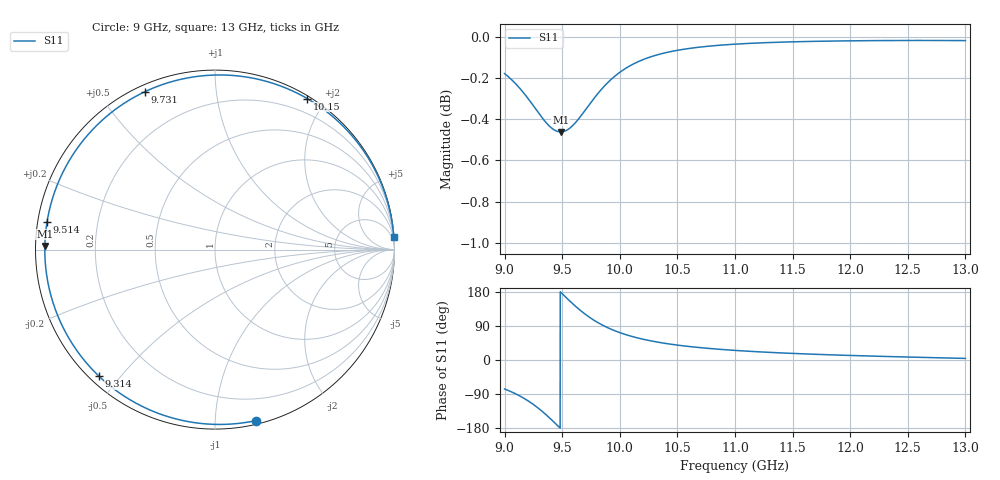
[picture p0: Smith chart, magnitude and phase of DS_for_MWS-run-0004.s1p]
! TOUCHSTONE file generated by CST DESIGN STUDIO
! Date and time: Tue Feb  4 13:52:41 2025
! Project name: C:\Work\MatlabApps\UnitCellOptimizationMatlab\CST\unitcell.cst
! Tree item: Tasks\Sweep1\SPara1\S-Parameters
! Header version: 2024
! Port assignment regex: !\s*Touchstone port\s*([0-9]+)\s*=\s*(CST MWS port|CST DES external port|CST DES block port)\s*(.+)\s* \(\"(.*)\"\)(\s*mode\s*([0-9]+))?.*
! Touchstone port assignment:
! Touchstone port 1 = CST DES external port 1 ("")
# GHz S MA R 50
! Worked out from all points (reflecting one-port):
!   4001 points, 9 GHz to 13 GHz, reference 50 ohm
!   lowest |S11| = -0.5 dB at 9.487 GHz (marker M1), VSWR 37.64, Z = 1.33 + j0.533 ohm
!   phase of S11 starts at -77 deg and turns -279 deg over the sweep
!   S11 on the Smith chart (normalised r, x): 9 GHz: 0.03, -1.27; 9.314 GHz: 0.03, -0.44; 9.514 GHz: 0.03, +0.08; 9.731 GHz: 0.03, +0.65; 10.15 GHz: 0.03, +1.78; 13 GHz: 1, +27
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9  0.9797 -76.6
9.081  0.9751 -87.1
9.18  0.968 -103.3
9.25  0.9622 -117.4
9.314  0.9567 -132.4
9.36  0.9532 -144.4
9.408  0.9503 -157.9
9.448  0.9488 -169.6
9.487  0.9482 178.8
9.5  0.9483 174.9
9.514  0.9485 170.7
9.567  0.9503 155.2
9.627  0.954 138.7
9.678  0.958 125.9
9.731  0.9625 113.9
9.785  0.9669 103.1
9.845  0.9714 92.8
9.921  0.9763 81.7
10  0.9804 72.2
10.15  0.986 58.6
10.308  0.9897 48.3
10.5  0.9925 39.3
10.722  0.9945 31.9
11  0.996 25.3
11.5  0.9973 17.4
12  0.9978 12.0
12.5  0.998 7.8
13  0.9979 4.2
